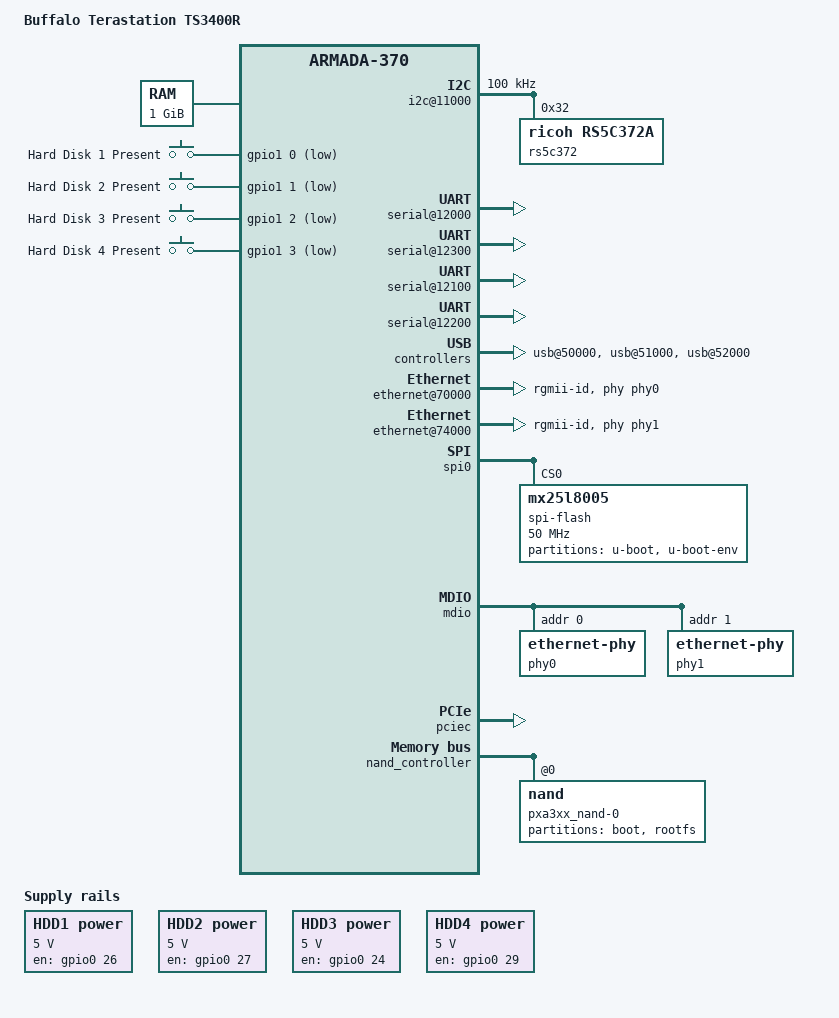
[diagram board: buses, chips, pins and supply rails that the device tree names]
// SPDX-License-Identifier: (GPL-2.0+ OR MIT)
/*
* Device Tree file for Buffalo Terastation TS3400R
*
* Jeremy J. Peper, based on device trees created by
* Steve Shih <shihsung@gmail.com> and Toha <tohenk@yahoo.com>
*
*/

/dts-v1/;
 
#include <dt-bindings/input/input.h>
#include <dt-bindings/gpio/gpio.h>
#include "armada-xp-mv78230.dtsi"
 
/ {
	model = "Buffalo Terastation TS3400R";
	compatible = "buffalo,ts3400r", "marvell,armadaxp-mv78230", "marvell,armadaxp", "marvell,armada-370-xp";
 
	chosen
	{
		stdout-path = "serial0:115200n8";
	};
 
	memory
	{
		device_type = "memory";
		reg = <0 0x00000000 0 0x40000000>; /* 1GB */
	};

	soc
	{
		ranges = <MBUS_ID(0xf0, 0x01) 0 0 0xd0000000 0x100000
			 MBUS_ID(0x01, 0x1d) 0 0 0xfff00000 0x100000
			 MBUS_ID(0x09, 0x09) 0 0 0xf1100000 0x10000
			 MBUS_ID(0x09, 0x05) 0 0 0xf1110000 0x10000>;
  
		internal-regs
		{
			rtc@10300
			{
				status = "disabled";
			};

			i2c@11000
			{
				status = "okay";
				clock-frequency = <100000>;

				rs5c372: rs5c372@32
				{
					compatible = "ricoh,rs5c372a";
					reg = <0x32>;
				};
			};  

			//Serial ports ordered to match the stock firmware order.

			//console
			serial@12000
			{
				status = "okay";
			};

			serial@12300
			{
				status = "okay";
			};

			//back serial port
			serial@12100
			{
				status = "okay";
			};

			serial@12200
			{
				status = "okay";
			};

			serial@12300
			{
				status = "okay";
			};

			timer@20300
			{
				status = "okay";
			};

			//front,usb 2.0 port
                        usb@50000
                        {
                                status = "okay";
                        };

			//rear,top usb 2.0 port
			usb@51000
			{
				status = "okay";
			};

			//rear,bottom usb 2.0 port
			usb@52000
			{
				status = "okay";
			};
 
			ethernet@70000
			{
				status = "okay";
				phy = <&phy0>;
				phy-mode = "rgmii-id";
			};
 
			ethernet@74000
			{
				status = "okay";
				phy = <&phy1>;
				phy-mode = "rgmii-id";
			};
		};
	};

	gpio-keys
	{
		compatible = "gpio-keys";
		pinctrl-0 = <&hdd1_present &hdd2_present &hdd3_present &hdd4_present>;
		pinctrl-names = "default";

		hdd1-present
		{
			label = "Hard Disk 1 Present";
			linux,code = <KEY_PROG1>;
			gpios = <&gpio1 0 GPIO_ACTIVE_LOW>;
		};

		hdd2-present
		{
			label = "Hard Disk 2 Present";
			linux,code = <KEY_PROG2>;
			gpios = <&gpio1 1 GPIO_ACTIVE_LOW>;
		};

		hdd3-present
		{
			label = "Hard Disk 3 Present";
			linux,code = <KEY_PROG3>;
			gpios = <&gpio1 2 GPIO_ACTIVE_LOW>;
		};

		hdd4-present
		{
			label = "Hard Disk 4 Present";
			linux,code = <KEY_PROG4>;
			gpios = <&gpio1 3 GPIO_ACTIVE_LOW>;
		};
	};

	regulators
	{
		compatible = "simple-bus";
		#address-cells = <1>;
		#size-cells = <0>;
		pinctrl-0 = <&hdd_pwr1 &hdd_pwr2 &hdd_pwr3 &hdd_pwr4>;
		pinctrl-names = "default";

		regulator@1
		{
			compatible = "regulator-fixed";
			reg = <1>;
			regulator-name = "HDD1 power";
			regulator-min-microvolt = <5000000>;
			regulator-max-microvolt = <5000000>;
			enable-active-high;
			regulator-always-on;
			regulator-boot-on;
			gpio = <&gpio0 26 GPIO_ACTIVE_HIGH>;
		};

		regulator@2
		{
			compatible = "regulator-fixed";
			reg = <2>;
			regulator-name = "HDD2 power";
			regulator-min-microvolt = <5000000>;
			regulator-max-microvolt = <5000000>;
			enable-active-high;
			regulator-always-on;
			regulator-boot-on;
			gpio = <&gpio0 27 GPIO_ACTIVE_HIGH>;
		};
		
		regulator@3
		{
			compatible = "regulator-fixed";
			reg = <3>;
			regulator-name = "HDD3 power";
			regulator-min-microvolt = <5000000>;
			regulator-max-microvolt = <5000000>;
			enable-active-high;
			regulator-always-on;
			regulator-boot-on;
			gpio = <&gpio0 24 GPIO_ACTIVE_HIGH>;
		};

		regulator@4
		{
			compatible = "regulator-fixed";
			reg = <4>;
			regulator-name = "HDD4 power";
			regulator-min-microvolt = <5000000>;
			regulator-max-microvolt = <5000000>;
			enable-active-high;
			regulator-always-on;
			regulator-boot-on;
			gpio = <&gpio0 29 GPIO_ACTIVE_HIGH>;
		};
	};
};

&spi0
{
	status = "okay";

	spi-flash@0
	{
		#address-cells = <1>;
		#size-cells = <1>;
		compatible = "mx25l8005", "jedec,spi-nor";
		reg = <0>;
		spi-max-frequency = <50000000>;

		partition@00000
		{
			label = "u-boot";
			reg = <0x00000 0xf0000>;
			read-only;
		};

		partition@f0000
		{
			label = "u-boot-env";
			reg = <0xf0000 0x10000>;
			read-only;
		};
	};
};

&mdio
{
	phy0: ethernet-phy@0
	{ /* Marvell 88E1318 */
		reg = <0>;
	};

	phy1: ethernet-phy@1
	{ /* Marvell 88E1318 */
		reg = <1>;
	};
};

&pciec
{
	status = "okay";

	/* Marvell 88SX7042 */
	pcie@1,0
	{
		/* Port 0, Lane 0 */
		status = "okay";
	};

	/* D720202 USB 3.0 Controller */
	pcie@5,0
	{
		/* Port 1, Lane 0 */
		status = "okay";
	};
};

&nand_controller
{
	status = "okay";

	nand@0
	{
		reg = <0>;
		label = "pxa3xx_nand-0";
		nand-rb = <0>;
		marvell,nand-keep-config;
		nand-on-flash-bbt;
		nand-ecc-strength = <4>;
		nand-ecc-step-size = <512>;

		partitions
		{
			compatible = "fixed-partitions";
			#address-cells = <1>;
			#size-cells = <1>;

			partition@0
			{
				label = "boot";
				reg = <0x00000000 0x02000000>;  /* 32MB */
			};

			partition@02100000
			{
				label = "rootfs";
				reg = <0x02000000 0x1e000000>;  /* 480MB */
			};
		};
	};
};

&pinctrl
{
	hdd_pwr1: hdd-pwr1
	{
		marvell,pins = "mpp26";
		marvell,function = "gpio";
	};

	hdd_pwr2: hdd-pwr2
	{
		marvell,pins = "mpp27";
		marvell,function = "gpio";
	};

	hdd_pwr3: hdd-pwr3
	{
		marvell,pins = "mpp24";
		marvell,function = "gpio";
	};

	hdd_pwr4: hdd-pwr4
	{
		marvell,pins = "mpp29";
		marvell,function = "gpio";
	};

	hdd1_present: hdd1-present
	{
		marvell,pins = "mpp32";
		marvell,function = "gpio";
	};

	hdd2_present: hdd2-present
	{
		marvell,pins = "mpp33";
		marvell,function = "gpio";
	};
	
	hdd3_present: hdd3-present
	{
		marvell,pins = "mpp34";
		marvell,function = "gpio";
	};

	hdd4_present: hdd4-present
	{
		marvell,pins = "mpp35";
		marvell,function = "gpio";
	};
};
